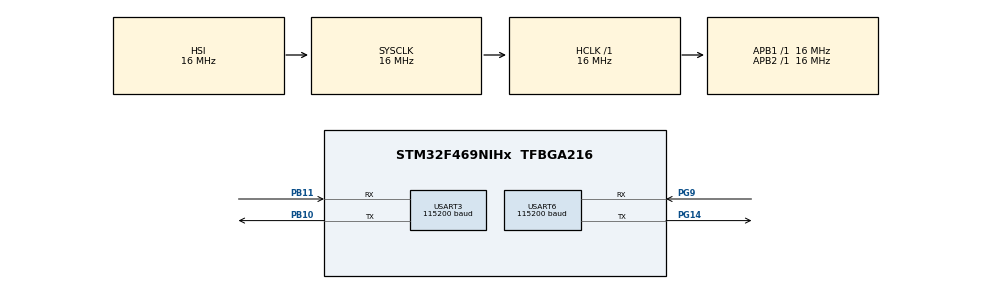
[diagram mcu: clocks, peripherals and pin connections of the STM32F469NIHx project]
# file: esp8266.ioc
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Mcu.Family=STM32F4
Mcu.Name=STM32F469NIHx
Mcu.Package=TFBGA216
NVIC.PriorityGroup=NVIC_PRIORITYGROUP_2
NVIC.USART3_IRQn=true\:0\:0\:true\:false\:true\:true
NVIC.USART6_IRQn=true\:0\:0\:true\:false\:true\:true
PB10.Mode=Asynchronous
PB10.Signal=USART3_TX
PB11.Mode=Asynchronous
PB11.Signal=USART3_RX
PG14.Mode=Asynchronous
PG14.Signal=USART6_TX
PG9.Mode=Asynchronous
PG9.Signal=USART6_RX
PH0/OSC_IN.Mode=HSE-External-Oscillator
PH0/OSC_IN.Signal=RCC_OSC_IN
PH1/OSC_OUT.Mode=HSE-External-Oscillator
PH1/OSC_OUT.Signal=RCC_OSC_OUT
ProjectManager.HeapSize=0x200
ProjectManager.StackSize=0x400
ProjectManager.TargetToolchain=TrueSTUDIO
RCC.AHBFreq_Value=16000000
RCC.APB1Freq_Value=16000000
RCC.APB1TimFreq_Value=16000000
RCC.APB2Freq_Value=16000000
RCC.APB2TimFreq_Value=16000000
RCC.CortexFreq_Value=16000000
RCC.HCLKFreq_Value=16000000
RCC.SYSCLKFreq_VALUE=16000000
RCC.USBFreq_Value=48000000
RCC.VCOOutputFreq_Value=192000000
USART3.BaudRate=115200
USART3.VirtualMode=VM_ASYNC
USART6.BaudRate=115200
USART6.VirtualMode=VM_ASYNC
board=esp8266

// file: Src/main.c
/**
  ******************************************************************************
  * @file           : main.c
  * @brief          : Main program body
  ******************************************************************************
  ** This notice applies to any and all portions of this file
  * that are not between comment pairs USER CODE BEGIN and
  * USER CODE END. Other portions of this file, whether
  * inserted by the user or by software development tools
  * are owned by their respective copyright owners.
  *
  * COPYRIGHT(c) 2018 STMicroelectronics
  *
  * Redistribution and use in source and binary forms, with or without modification,
  * are permitted provided that the following conditions are met:
  *   1. Redistributions of source code must retain the above copyright notice,
  *      this list of conditions and the following disclaimer.
  *   2. Redistributions in binary form must reproduce the above copyright notice,
  *      this list of conditions and the following disclaimer in the documentation
  *      and/or other materials provided with the distribution.
  *   3. Neither the name of STMicroelectronics nor the names of its contributors
  *      may be used to endorse or promote products derived from this software
  *      without specific prior written permission.
  *
  * THIS SOFTWARE IS PROVIDED BY THE COPYRIGHT HOLDERS AND CONTRIBUTORS "AS IS"
  * AND ANY EXPRESS OR IMPLIED WARRANTIES, INCLUDING, BUT NOT LIMITED TO, THE
  * IMPLIED WARRANTIES OF MERCHANTABILITY AND FITNESS FOR A PARTICULAR PURPOSE ARE
  * DISCLAIMED. IN NO EVENT SHALL THE COPYRIGHT HOLDER OR CONTRIBUTORS BE LIABLE
  * FOR ANY DIRECT, INDIRECT, INCIDENTAL, SPECIAL, EXEMPLARY, OR CONSEQUENTIAL
  * DAMAGES (INCLUDING, BUT NOT LIMITED TO, PROCUREMENT OF SUBSTITUTE GOODS OR
  * SERVICES; LOSS OF USE, DATA, OR PROFITS; OR BUSINESS INTERRUPTION) HOWEVER
  * CAUSED AND ON ANY THEORY OF LIABILITY, WHETHER IN CONTRACT, STRICT LIABILITY,
  * OR TORT (INCLUDING NEGLIGENCE OR OTHERWISE) ARISING IN ANY WAY OUT OF THE USE
  * OF THIS SOFTWARE, EVEN IF ADVISED OF THE POSSIBILITY OF SUCH DAMAGE.
  *
  ******************************************************************************
  */
#include "main.h"
#include "stm32f4xx_hal.h"
#include <string.h>
#include <stdio.h>

UART_HandleTypeDef huart3;
UART_HandleTypeDef huart6;

/* USER CODE BEGIN PV */
/* Private variables ---------------------------------------------------------*/

/* USER CODE END PV */

void SystemClock_Config(void);
static void MX_GPIO_Init(void);
static void MX_USART6_UART_Init(void);
static void MX_USART3_UART_Init(void);

/* USER CODE BEGIN PFP */
/* Private function prototypes -----------------------------------------------*/
char rx3_buf[100],rx6_buf[100],rx3_data,rx6_data;
int rx3_index=0,rx6_index=0;
char state=0;
/* USER CODE END PFP */

/* USER CODE BEGIN 0 */
void HAL_UART_RxCpltCallback(UART_HandleTypeDef *huart){
	if(huart->Instance==USART3){
		if(rx3_index==0){
			for(int i=0;i<100;i++){
				rx3_buf[i]=0;
			}
		}
		rx3_buf[rx3_index++]=rx3_data;
		if(rx3_data=='\n'){
			rx3_index=0;
			char tosend[200]={0};
			char tos[200]={0};
			sprintf(tosend,"[STM] Send to ESP : %s",rx3_buf);
			HAL_UART_Transmit(&huart3,tosend,sizeof(tosend),0xffff);
			HAL_UART_Transmit(&huart6,rx3_buf,sizeof(rx3_buf),0xffff);
			HAL_UART_Transmit(&huart3,"[STM] Done\r\n",12,0xffff);
		}
		HAL_UART_Receive_IT(&huart3,&rx3_data,1);
	}
  if(huart->Instance==USART6){
		if(rx6_index==0){
			for(int i=0;i<100;i++){
				rx6_buf[i]=0;
			}
		}
		rx6_buf[rx6_index++]=rx6_data;
		if((rx6_buf[rx6_index-4]=='O'&&rx6_buf[rx6_index-3]=='K')||(rx6_buf[rx6_index-5]=='R'&&rx6_buf[rx6_index-4]=='O'&&rx6_buf[rx6_index-3]=='R')||(rx6_buf[rx6_index-5]=='E'&&rx6_buf[rx6_index-4]=='C'&&rx6_buf[rx6_index-3]=='T')||rx6_buf[rx6_index-1]=='%'){
			char tosend[100]={0};
			sprintf(tosend,"\r\n[ESP8266]: \r\n%s",rx6_buf);
			HAL_UART_Transmit(&huart3,&tosend,sizeof(tosend),0xffff);
			rx6_index=0;
		}
		HAL_UART_Receive_IT(&huart6,&rx6_data,1);

	}
}
/* USER CODE END 0 */

int main(void)
{

  /* MCU Configuration----------------------------------------------------------*/

  /* Reset of all peripherals, Initializes the Flash interface and the Systick. */
  HAL_Init();

  /* Configure the system clock */
  SystemClock_Config();

  /* Initialize all configured peripherals */
  MX_GPIO_Init();
  MX_USART6_UART_Init();
  MX_USART3_UART_Init();
  /* USER CODE BEGIN 2 */
  HAL_UART_Receive_IT(&huart3,&rx3_data,1);
  HAL_UART_Receive_IT(&huart6,&rx6_data,1);
  char tosend[100]={0};
  sprintf(tosend,"[STM] Board initialize OK\r\n");
  HAL_UART_Transmit(&huart3,tosend,sizeof(tosend),0xffff);

  HAL_Delay(500);
  sprintf(tosend,"AT\r\n");
  HAL_UART_Transmit(&huart6,tosend,sizeof(tosend),0xffff);
  HAL_Delay(500);
  sprintf(tosend,"AT+CWMODE=2\r\n");
  HAL_UART_Transmit(&huart6,tosend,sizeof(tosend),0xffff);
  HAL_Delay(500);
  sprintf(tosend,"AT+CIPMUX=1\r\n");
  HAL_UART_Transmit(&huart6,tosend,sizeof(tosend),0xffff);
  HAL_Delay(500);
  sprintf(tosend,"AT+CIPSERVER=1,66\r\n");
  HAL_UART_Transmit(&huart6,tosend,sizeof(tosend),0xffff);
  HAL_Delay(500);
  sprintf(tosend,"AT+CIPSTO=0\r\n");
  HAL_UART_Transmit(&huart6,tosend,sizeof(tosend),0xffff);
  sprintf(tosend,"[STM] Wifi initialize OK\r\n");
  HAL_UART_Transmit(&huart3,tosend,sizeof(tosend),0xffff);
  /* USER CODE END 2 */

  /* Infinite loop */
  while (1)
  {
  }

}

void SystemClock_Config(void)
{

  RCC_OscInitTypeDef RCC_OscInitStruct;
  RCC_ClkInitTypeDef RCC_ClkInitStruct;

    /**Configure the main internal regulator output voltage
    */
  __HAL_RCC_PWR_CLK_ENABLE();

  __HAL_PWR_VOLTAGESCALING_CONFIG(PWR_REGULATOR_VOLTAGE_SCALE3);

    /**Initializes the CPU, AHB and APB busses clocks
    */
  RCC_OscInitStruct.OscillatorType = RCC_OSCILLATORTYPE_HSI;
  RCC_OscInitStruct.HSIState = RCC_HSI_ON;
  RCC_OscInitStruct.HSICalibrationValue = 16;
  RCC_OscInitStruct.PLL.PLLState = RCC_PLL_NONE;
  if (HAL_RCC_OscConfig(&RCC_OscInitStruct) != HAL_OK)
  {
    _Error_Handler(__FILE__, __LINE__);
  }

    /**Initializes the CPU, AHB and APB busses clocks
    */
  RCC_ClkInitStruct.ClockType = RCC_CLOCKTYPE_HCLK|RCC_CLOCKTYPE_SYSCLK
                              |RCC_CLOCKTYPE_PCLK1|RCC_CLOCKTYPE_PCLK2;
  RCC_ClkInitStruct.SYSCLKSource = RCC_SYSCLKSOURCE_HSI;
  RCC_ClkInitStruct.AHBCLKDivider = RCC_SYSCLK_DIV1;
  RCC_ClkInitStruct.APB1CLKDivider = RCC_HCLK_DIV1;
  RCC_ClkInitStruct.APB2CLKDivider = RCC_HCLK_DIV1;

  if (HAL_RCC_ClockConfig(&RCC_ClkInitStruct, FLASH_LATENCY_0) != HAL_OK)
  {
    _Error_Handler(__FILE__, __LINE__);
  }

    /**Configure the Systick interrupt time
    */
  HAL_SYSTICK_Config(HAL_RCC_GetHCLKFreq()/1000);

    /**Configure the Systick
    */
  HAL_SYSTICK_CLKSourceConfig(SYSTICK_CLKSOURCE_HCLK);

  /* SysTick_IRQn interrupt configuration */
  HAL_NVIC_SetPriority(SysTick_IRQn, 0, 0);
}

/* USART3 init function */
static void MX_USART3_UART_Init(void)
{

  huart3.Instance = USART3;
  huart3.Init.BaudRate = 115200;
  huart3.Init.WordLength = UART_WORDLENGTH_8B;
  huart3.Init.StopBits = UART_STOPBITS_1;
  huart3.Init.Parity = UART_PARITY_NONE;
  huart3.Init.Mode = UART_MODE_TX_RX;
  huart3.Init.HwFlowCtl = UART_HWCONTROL_NONE;
  huart3.Init.OverSampling = UART_OVERSAMPLING_16;
  if (HAL_UART_Init(&huart3) != HAL_OK)
  {
    _Error_Handler(__FILE__, __LINE__);
  }

}

/* USART6 init function */
static void MX_USART6_UART_Init(void)
{

  huart6.Instance = USART6;
  huart6.Init.BaudRate = 115200;
  huart6.Init.WordLength = UART_WORDLENGTH_8B;
  huart6.Init.StopBits = UART_STOPBITS_1;
  huart6.Init.Parity = UART_PARITY_NONE;
  huart6.Init.Mode = UART_MODE_TX_RX;
  huart6.Init.HwFlowCtl = UART_HWCONTROL_NONE;
  huart6.Init.OverSampling = UART_OVERSAMPLING_16;
  if (HAL_UART_Init(&huart6) != HAL_OK)
  {
    _Error_Handler(__FILE__, __LINE__);
  }

}

/** Configure pins as
        * Analog
        * Input
        * Output
        * EVENT_OUT
        * EXTI
*/
static void MX_GPIO_Init(void)
{

  /* GPIO Ports Clock Enable */
  __HAL_RCC_GPIOG_CLK_ENABLE();
  __HAL_RCC_GPIOH_CLK_ENABLE();
  __HAL_RCC_GPIOB_CLK_ENABLE();

}

void _Error_Handler(char *file, int line)
{
  while(1)
  {
  }
}

/************************ (C) COPYRIGHT STMicroelectronics *****END OF FILE****/
